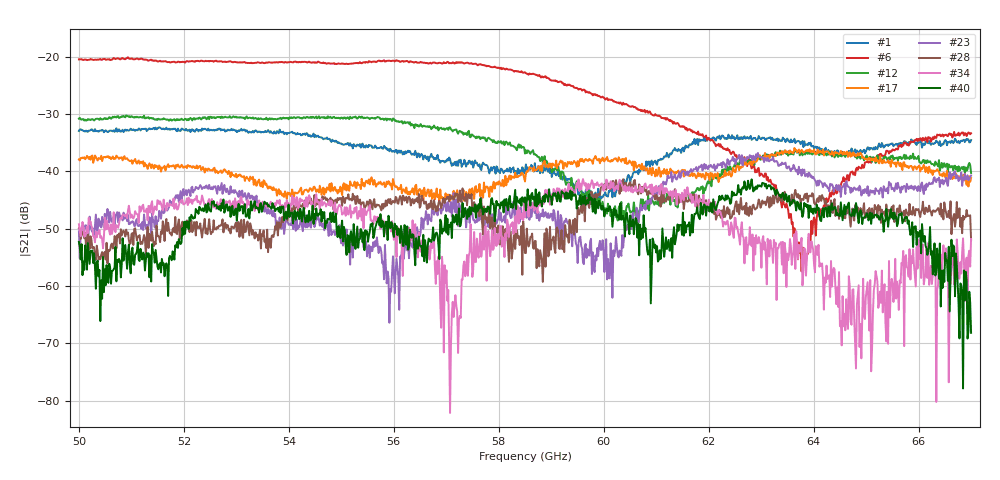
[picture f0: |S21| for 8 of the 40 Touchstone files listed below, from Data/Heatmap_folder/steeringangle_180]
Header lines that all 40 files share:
!Created with skrf (http://scikit-rf.org).
# GHz S RI R 50.0
!freq ReS11 ImS11 ReS21 ImS21 ReS12 ImS12 ReS22 ImS22
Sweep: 50 GHz to 67 GHz
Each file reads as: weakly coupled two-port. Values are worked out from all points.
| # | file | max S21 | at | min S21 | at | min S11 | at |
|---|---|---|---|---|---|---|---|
| 1 | az=0_el=0.s2p | -32.34 dB | 51.53 GHz | -45.4 dB | 59.93 GHz | -40.0 dB | 59.59 GHz |
| 2 | az=1_el=0.s2p | -26.60 dB | 50.88 GHz | -39.9 dB | 61.78 GHz | -40.5 dB | 59.59 GHz |
| 3 | az=2_el=0.s2p | -22.75 dB | 50.92 GHz | -49.1 dB | 62.55 GHz | -42.0 dB | 59.59 GHz |
| 4 | az=3_el=0.s2p | -20.65 dB | 50.73 GHz | -50.7 dB | 63.84 GHz | -44.0 dB | 59.59 GHz |
| 5 | az=4_el=0.s2p | -19.84 dB | 50.92 GHz | -51.2 dB | 63.94 GHz | -45.3 dB | 59.59 GHz |
| 6 | az=5_el=0.s2p | -20.12 dB | 50.94 GHz | -57.4 dB | 63.77 GHz | -43.0 dB | 59.59 GHz |
| 7 | az=6_el=0.s2p | -21.63 dB | 50.94 GHz | -72.5 dB | 63.23 GHz | -43.4 dB | 59.59 GHz |
| 8 | az=7_el=0.s2p | -24.07 dB | 50.9 GHz | -69.1 dB | 61.34 GHz | -43.7 dB | 59.59 GHz |
| 9 | az=8_el=0.s2p | -26.81 dB | 50.73 GHz | -71.7 dB | 59.89 GHz | -44.9 dB | 59.59 GHz |
| 10 | az=9_el=0.s2p | -28.75 dB | 50.7 GHz | -44.5 dB | 59.72 GHz | -47.5 dB | 59.59 GHz |
| 11 | az=10_el=0.s2p | -28.61 dB | 55.78 GHz | -58.6 dB | 61.78 GHz | -45.9 dB | 59.59 GHz |
| 12 | az=11_el=0.s2p | -30.26 dB | 50.9 GHz | -49.0 dB | 60.66 GHz | -52.1 dB | 59.59 GHz |
| 13 | az=12_el=0.s2p | -32.36 dB | 50.8 GHz | -46.7 dB | 58.06 GHz | -58.3 dB | 59.59 GHz |
| 14 | az=13_el=0.s2p | -36.34 dB | 50.09 GHz | -46.7 dB | 58.81 GHz | -58.4 dB | 59.59 GHz |
| 15 | az=14_el=0.s2p | -35.43 dB | 55.41 GHz | -81.0 dB | 59.72 GHz | -86.7 dB | 59.59 GHz |
| 16 | az=15_el=0.s2p | -35.90 dB | 64.86 GHz | -49.7 dB | 61.41 GHz | -51.4 dB | 59.59 GHz |
| 17 | az=16_el=0.s2p | -35.94 dB | 63.63 GHz | -45.3 dB | 57.07 GHz | -53.6 dB | 59.59 GHz |
| 18 | az=17_el=0.s2p | -38.81 dB | 59.66 GHz | -63.3 dB | 56.41 GHz | -48.5 dB | 59.59 GHz |
| 19 | az=18_el=0.s2p | -37.58 dB | 66.88 GHz | -68.7 dB | 60.3 GHz | -51.1 dB | 59.59 GHz |
| 20 | az=19_el=0.s2p | -35.76 dB | 64.62 GHz | -54.3 dB | 50.17 GHz | -46.7 dB | 59.59 GHz |
| 21 | az=20_el=0.s2p | -36.61 dB | 63.97 GHz | -57.9 dB | 50.31 GHz | -47.1 dB | 59.59 GHz |
| 22 | az=21_el=0.s2p | -38.11 dB | 63.24 GHz | -62.9 dB | 50.26 GHz | -46.5 dB | 59.59 GHz |
| 23 | az=22_el=0.s2p | -36.79 dB | 62.94 GHz | -66.4 dB | 55.92 GHz | -50.3 dB | 59.59 GHz |
| 24 | az=23_el=0.s2p | -36.44 dB | 62.51 GHz | -64.8 dB | 55.73 GHz | -42.0 dB | 59.59 GHz |
| 25 | az=24_el=0.s2p | -37.52 dB | 62.12 GHz | -74.5 dB | 54.96 GHz | -47.2 dB | 59.59 GHz |
| 26 | az=25_el=0.s2p | -39.11 dB | 61.59 GHz | -73.2 dB | 54.34 GHz | -43.1 dB | 59.59 GHz |
| 27 | az=26_el=0.s2p | -39.98 dB | 60.64 GHz | -62.9 dB | 53.81 GHz | -41.4 dB | 59.59 GHz |
| 28 | az=27_el=0.s2p | -41.37 dB | 60.37 GHz | -59.3 dB | 58.84 GHz | -40.4 dB | 59.59 GHz |
| 29 | az=28_el=0.s2p | -41.21 dB | 59.93 GHz | -71.1 dB | 57.67 GHz | -40.7 dB | 59.59 GHz |
| 30 | az=29_el=0.s2p | -40.56 dB | 59.42 GHz | -78.9 dB | 65.98 GHz | -39.0 dB | 59.59 GHz |
| 31 | az=30_el=0.s2p | -40.97 dB | 58.48 GHz | -61.2 dB | 63.99 GHz | -40.8 dB | 59.59 GHz |
| 32 | az=31_el=0.s2p | -40.93 dB | 56.1 GHz | -73.0 dB | 63.07 GHz | -38.3 dB | 59.59 GHz |
| 33 | az=32_el=0.s2p | -41.61 dB | 54.64 GHz | -70.8 dB | 62.89 GHz | -38.3 dB | 59.59 GHz |
| 34 | az=33_el=0.s2p | -41.35 dB | 59.61 GHz | -82.1 dB | 57.07 GHz | -39.2 dB | 62.56 GHz |
| 35 | az=34_el=0.s2p | -41.60 dB | 59.77 GHz | -55.9 dB | 56.7 GHz | -38.5 dB | 62.56 GHz |
| 36 | az=35_el=0.s2p | -42.35 dB | 54.01 GHz | -61.5 dB | 62.77 GHz | -41.1 dB | 62.56 GHz |
| 37 | az=36_el=0.s2p | -42.05 dB | 53.62 GHz | -100.3 dB | 56.94 GHz | -39.6 dB | 62.56 GHz |
| 38 | az=37_el=0.s2p | -40.92 dB | 60.15 GHz | -87.1 dB | 55.36 GHz | -38.2 dB | 62.56 GHz |
| 39 | az=38_el=0.s2p | -40.74 dB | 59.69 GHz | -65.2 dB | 53.2 GHz | -39.4 dB | 62.56 GHz |
| 40 | az=39_el=0.s2p | -41.39 dB | 62.82 GHz | -77.8 dB | 66.85 GHz | -40.4 dB | 62.56 GHz |
